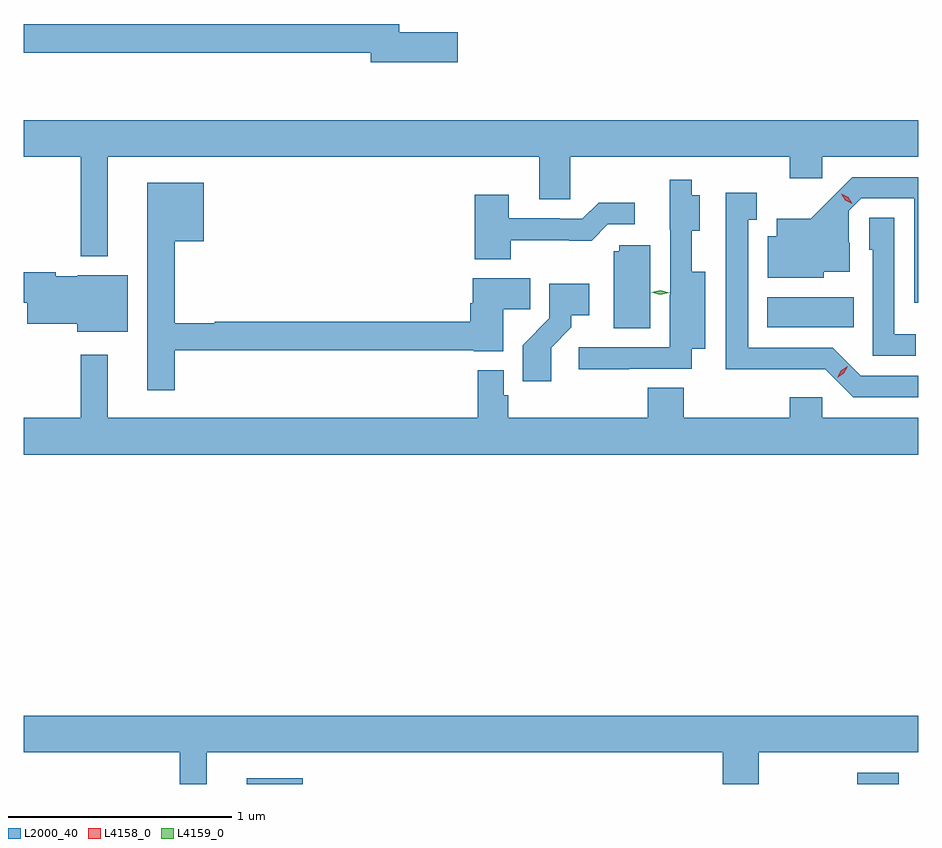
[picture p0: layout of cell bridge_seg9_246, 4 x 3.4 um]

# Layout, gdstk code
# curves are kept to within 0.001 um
import gdstk
lib = gdstk.Library(unit=1e-6, precision=1e-09)
def R(c, l, rs):  # rectangles x0, y0, x1, y1
    for r in rs: c.add(gdstk.rectangle(r[:2], r[2:], *l))
def P(c, l, *ps):  # polygons
    for p in ps: c.add(gdstk.Polygon(p, *l))
L2000_40 = (2000, 40)
L4158_0 = (4158, 0)
L4159_0 = (4159, 0)

bridge_seg9_246 = lib.new_cell('bridge_seg9_246')
R(bridge_seg9_246, L2000_40, [(244.043,1217.591,244.294,1217.617), (246.773,1217.591,246.958,1217.641), (246.371,1219.634,246.758,1219.768)])
P(bridge_seg9_246, L2000_40, [(244.987,1220.954),(244.726,1220.954),(244.726,1220.99),(243.046,1220.99),(243.046,1220.862),(244.598,1220.862),(244.598,1220.819),(244.987,1220.819)],
  [(243.421,1220.396),(245.351,1220.396),(245.351,1220.206),(245.49,1220.206),(245.49,1220.396),(246.472,1220.396),(246.472,1220.301),(246.618,1220.301),(246.618,1220.396),(247.046,1220.396),(247.046,1220.56),(243.046,1220.56),(243.046,1220.396),(243.3,1220.396),(243.3,1219.952),(243.421,1219.952)],
  [(247.046,1220.304),(246.752,1220.304),(246.565,1220.119),(246.413,1220.119),(246.413,1220.041),(246.374,1220.041),(246.374,1219.856),(246.624,1219.856),(246.624,1219.883),(246.739,1219.883),(246.739,1220.012),(246.735,1220.012),(246.735,1220.154),(246.792,1220.211),(247.029,1220.211),(247.029,1219.744),(247.046,1219.744)],
  [(245.753,1219.449),(246.034,1219.449),(246.034,1219.538),(246.094,1219.538),(246.094,1219.882),(246.034,1219.882),(246.034,1220.066),(246.07,1220.066),(246.07,1220.224),(246.034,1220.224),(246.034,1220.293),(245.936,1220.293),(245.936,1220.07),(245.937,1220.07),(245.937,1219.778),(245.936,1219.778),(245.936,1219.545),(245.529,1219.545),(245.529,1219.447),(245.753,1219.447)],
  [(243.721,1219.53),(245.058,1219.53),(245.058,1219.526),(245.191,1219.526),(245.191,1219.714),(245.312,1219.714),(245.312,1219.852),(245.054,1219.852),(245.054,1219.742),(245.042,1219.742),(245.042,1219.658),(243.899,1219.658),(243.899,1219.651),(243.721,1219.651),(243.721,1220.018),(243.85,1220.018),(243.85,1220.281),(243.599,1220.281),(243.599,1219.353),(243.721,1219.353)],
  [(247.046,1219.416),(246.789,1219.416),(246.663,1219.542),(246.286,1219.542),(246.286,1220.115),(246.325,1220.115),(246.325,1220.236),(246.185,1220.236),(246.185,1219.445),(246.63,1219.446),(246.756,1219.32),(247.046,1219.32)],
  [(245.223,1220.022),(245.585,1220.021),(245.658,1220.094),(245.779,1220.094),(245.779,1220.191),(245.617,1220.191),(245.544,1220.118),(245.444,1220.118),(245.444,1220.121),(245.215,1220.121),(245.215,1220.227),(245.063,1220.227),(245.063,1219.937),(245.223,1219.937)],
  [(247.036,1219.603),(246.939,1219.603),(246.939,1220.123),(246.828,1220.123),(246.828,1219.98),(246.843,1219.98),(246.843,1219.506),(247.036,1219.506)],
  [(245.848,1220.001),(245.709,1220.001),(245.709,1219.974),(245.684,1219.974),(245.684,1219.63),(245.848,1219.63)],
  [(243.511,1219.867),(243.288,1219.867),(243.288,1219.861),(243.188,1219.861),(243.188,1219.88),(243.046,1219.88),(243.046,1219.744),(243.062,1219.744),(243.062,1219.649),(243.284,1219.649),(243.284,1219.613),(243.511,1219.613)],
  [(245.404,1219.543),(245.494,1219.633),(245.494,1219.688),(245.575,1219.688),(245.575,1219.828),(245.397,1219.828),(245.397,1219.673),(245.278,1219.554),(245.278,1219.392),(245.404,1219.392)],
  [(247.046,1219.228),(246.618,1219.228),(246.618,1219.321),(246.472,1219.321),(246.472,1219.228),(245.997,1219.228),(245.997,1219.364),(245.837,1219.364),(245.837,1219.228),(245.213,1219.228),(245.213,1219.329),(245.193,1219.329),(245.193,1219.441),(245.077,1219.441),(245.077,1219.228),(243.421,1219.228),(243.421,1219.51),(243.3,1219.51),(243.3,1219.228),(243.046,1219.228),(243.046,1219.064),(247.046,1219.064)],
  [(243.865,1217.732),(246.173,1217.732),(246.173,1217.591),(246.333,1217.591),(246.333,1217.732),(247.046,1217.732),(247.046,1217.896),(243.046,1217.896),(243.046,1217.732),(243.744,1217.732),(243.744,1217.591),(243.865,1217.591)])
P(bridge_seg9_246, L4158_0, [(246.75,1220.186),(246.72,1220.201),(246.702,1220.23),(246.702,1220.23),(246.702,1220.23),(246.733,1220.216),(246.751,1220.187),(246.751,1220.186)],
  [(246.683,1219.408),(246.683,1219.408),(246.7,1219.44),(246.731,1219.46),(246.732,1219.46),(246.732,1219.459),(246.714,1219.427),(246.683,1219.408)])
P(bridge_seg9_246, L4159_0, [(245.892,1219.779),(245.852,1219.79),(245.851,1219.79),(245.852,1219.79),(245.893,1219.799),(245.934,1219.788),(245.934,1219.788),(245.934,1219.788)])

lib.write_gds('bridge_seg9_246.gds')
